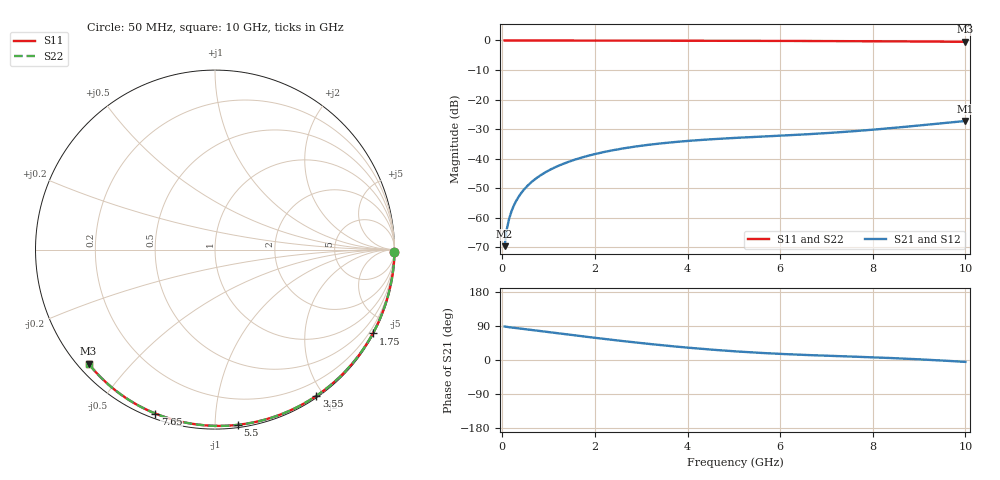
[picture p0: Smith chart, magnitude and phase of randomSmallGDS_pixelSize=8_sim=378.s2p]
! freq	dB(S11)	phase(S11)	dB(S12)	phase(S12)
!  dB(S21)	phase(S21)	dB(S22)	phase(S22)
!S-par simulation data
#  GHz  S  DB  R 50
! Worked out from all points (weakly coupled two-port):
!   200 points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, 50 MHz to 10 GHz, reference 50 ohm
!   highest |S21| = -27.23 dB at 10 GHz (marker M1); lowest = -69.6 dB at 50 MHz (marker M2)
!   lowest |S11| = -0.5 dB at 10 GHz (marker M3), VSWR 37.91, Z = 1.51 - j19.2 ohm
!   |S11| at or under -10 dB: nowhere
!   |S22| runs from -0.5 to 0.0 dB; largest |S21 - S12| = 0
!   S11 on the Smith chart (normalised r, x): 50 MHz: open; 1.75 GHz: 0.04, -4.02; 3.55 GHz: 0.02, -1.91; 5.5 GHz: 0.02, -1.14; 7.65 GHz: 0.02, -0.70; 10 GHz: 0.03, -0.38
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0.05  -0.00 -0.8  -69.55 88.5  -69.55 88.5  -0.00 -0.8
0.1  -0.00 -1.6  -63.61 87.3  -63.61 87.3  -0.00 -1.6
0.15  -0.00 -2.4  -60.16 86.5  -60.16 86.5  -0.00 -2.4
0.2  -0.00 -3.3  -57.71 85.7  -57.71 85.7  -0.00 -3.3
0.25  -0.00 -4.1  -55.80 85.0  -55.80 85.0  -0.00 -4.1
0.35  -0.00 -5.7  -52.92 83.6  -52.92 83.6  -0.00 -5.7
0.5  -0.01 -8.1  -49.86 81.4  -49.86 81.4  -0.01 -8.1
0.7  -0.01 -11.3  -46.99 78.4  -46.99 78.4  -0.01 -11.3
1  -0.02 -16.1  -43.98 73.7  -43.98 73.7  -0.02 -16.1
1.35  -0.03 -21.7  -41.50 68.3  -41.50 68.3  -0.03 -21.7
1.75  -0.04 -28.0  -39.43 62.3  -39.43 62.3  -0.04 -28.0
2.5  -0.05 -39.6  -36.80 51.4  -36.80 51.4  -0.05 -39.6
3.4  -0.07 -53.1  -34.85 39.6  -34.85 39.6  -0.07 -53.1
3.55  -0.07 -55.3  -34.60 37.8  -34.60 37.8  -0.07 -55.3
4.3  -0.09 -66.1  -33.63 29.5  -33.63 29.5  -0.09 -66.1
5.05  -0.12 -76.5  -32.93 22.7  -32.93 22.7  -0.12 -76.5
5.5  -0.13 -82.6  -32.58 19.3  -32.58 19.3  -0.13 -82.6
6.7  -0.19 -98.2  -31.61 12.6  -31.61 12.6  -0.19 -98.2
7.65  -0.25 -110.0  -30.61 8.6  -30.61 8.6  -0.25 -110.0
8.35  -0.30 -118.5  -29.70 5.4  -29.70 5.4  -0.30 -118.4
9.2  -0.37 -128.5  -28.45 0.5  -28.45 0.5  -0.37 -128.5
10  -0.46 -137.9  -27.23 -5.0  -27.23 -5.0  -0.46 -137.9
